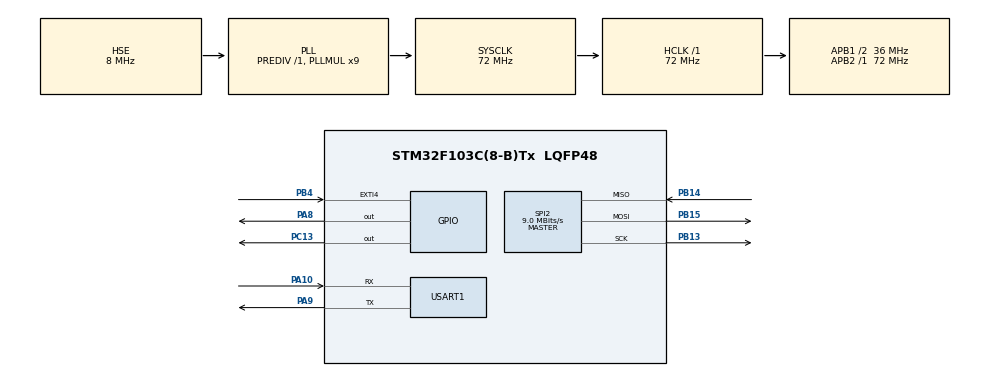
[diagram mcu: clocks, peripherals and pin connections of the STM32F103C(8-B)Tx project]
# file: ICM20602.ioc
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Mcu.Family=STM32F1
Mcu.Name=STM32F103C(8-B)Tx
Mcu.Package=LQFP48
NVIC.EXTI4_IRQn=true\:0\:0\:false\:false\:true\:true
NVIC.PriorityGroup=NVIC_PRIORITYGROUP_4
NVIC.USART1_IRQn=true\:0\:0\:false\:false\:true\:true
PA10.Mode=Asynchronous
PA10.Signal=USART1_RX
PA13.Mode=Serial_Wire
PA13.Signal=SYS_JTMS-SWDIO
PA14.Mode=Serial_Wire
PA14.Signal=SYS_JTCK-SWCLK
PA8.Signal=GPIO_Output
PA9.Mode=Asynchronous
PA9.Signal=USART1_TX
PB13.Mode=Full_Duplex_Master
PB13.Signal=SPI2_SCK
PB14.Mode=Full_Duplex_Master
PB14.Signal=SPI2_MISO
PB15.Mode=Full_Duplex_Master
PB15.Signal=SPI2_MOSI
PB4.Signal=GPXTI4
PC13-TAMPER-RTC.Signal=GPIO_Output
PC14-OSC32_IN.Mode=LSE-External-Oscillator
PC14-OSC32_IN.Signal=RCC_OSC32_IN
PC15-OSC32_OUT.Mode=LSE-External-Oscillator
PC15-OSC32_OUT.Signal=RCC_OSC32_OUT
PD0-OSC_IN.Mode=HSE-External-Oscillator
PD0-OSC_IN.Signal=RCC_OSC_IN
PD1-OSC_OUT.Mode=HSE-External-Oscillator
PD1-OSC_OUT.Signal=RCC_OSC_OUT
ProjectManager.HeapSize=0x200
ProjectManager.StackSize=0x400
ProjectManager.TargetToolchain=MDK-ARM V5
RCC.AHBFreq_Value=72000000
RCC.APB1CLKDivider=RCC_HCLK_DIV2
RCC.APB1Freq_Value=36000000
RCC.APB1TimFreq_Value=72000000
RCC.APB2Freq_Value=72000000
RCC.APB2TimFreq_Value=72000000
RCC.HCLKFreq_Value=72000000
RCC.PLLMUL=RCC_PLL_MUL9
RCC.PLLSourceVirtual=RCC_PLLSOURCE_HSE
RCC.SYSCLKFreq_VALUE=72000000
RCC.SYSCLKSource=RCC_SYSCLKSOURCE_PLLCLK
RCC.USBFreq_Value=72000000
SPI2.BaudRatePrescaler=SPI_BAUDRATEPRESCALER_4
SPI2.CalculateBaudRate=9.0 MBits/s
SPI2.Direction=SPI_DIRECTION_2LINES
SPI2.Mode=SPI_MODE_MASTER
SPI2.VirtualType=VM_MASTER
USART1.VirtualMode=VM_ASYNC
board=custom

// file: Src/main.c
/**
  ******************************************************************************
  * @file           : main.c
  * @brief          : Main program body
  ******************************************************************************
  ** This notice applies to any and all portions of this file
  * that are not between comment pairs USER CODE BEGIN and
  * USER CODE END. Other portions of this file, whether
  * inserted by the user or by software development tools
  * are owned by their respective copyright owners.
  *
  * COPYRIGHT(c) 2019 STMicroelectronics
  *
  * Redistribution and use in source and binary forms, with or without modification,
  * are permitted provided that the following conditions are met:
  *   1. Redistributions of source code must retain the above copyright notice,
  *      this list of conditions and the following disclaimer.
  *   2. Redistributions in binary form must reproduce the above copyright notice,
  *      this list of conditions and the following disclaimer in the documentation
  *      and/or other materials provided with the distribution.
  *   3. Neither the name of STMicroelectronics nor the names of its contributors
  *      may be used to endorse or promote products derived from this software
  *      without specific prior written permission.
  *
  * THIS SOFTWARE IS PROVIDED BY THE COPYRIGHT HOLDERS AND CONTRIBUTORS "AS IS"
  * AND ANY EXPRESS OR IMPLIED WARRANTIES, INCLUDING, BUT NOT LIMITED TO, THE
  * IMPLIED WARRANTIES OF MERCHANTABILITY AND FITNESS FOR A PARTICULAR PURPOSE ARE
  * DISCLAIMED. IN NO EVENT SHALL THE COPYRIGHT HOLDER OR CONTRIBUTORS BE LIABLE
  * FOR ANY DIRECT, INDIRECT, INCIDENTAL, SPECIAL, EXEMPLARY, OR CONSEQUENTIAL
  * DAMAGES (INCLUDING, BUT NOT LIMITED TO, PROCUREMENT OF SUBSTITUTE GOODS OR
  * SERVICES; LOSS OF USE, DATA, OR PROFITS; OR BUSINESS INTERRUPTION) HOWEVER
  * CAUSED AND ON ANY THEORY OF LIABILITY, WHETHER IN CONTRACT, STRICT LIABILITY,
  * OR TORT (INCLUDING NEGLIGENCE OR OTHERWISE) ARISING IN ANY WAY OUT OF THE USE
  * OF THIS SOFTWARE, EVEN IF ADVISED OF THE POSSIBILITY OF SUCH DAMAGE.
  *
  ******************************************************************************
  */
#include "main.h"
#include "stm32f1xx_hal.h"

/* USER CODE BEGIN Includes */

#include "Scheduler.h"
#include "sys.h"
#include "icm20602.h"
#include "Sensor_Basic.h"
#include "Drv_Spi.h"

/* USER CODE END Includes */

SPI_HandleTypeDef hspi2;

UART_HandleTypeDef huart1;

/* USER CODE BEGIN PV */
/* Private variables ---------------------------------------------------------*/

/* USER CODE END PV */

void SystemClock_Config(void);
static void MX_GPIO_Init(void);
static void MX_SPI2_Init(void);
static void MX_USART1_UART_Init(void);

/* USER CODE BEGIN PFP */
/* Private function prototypes -----------------------------------------------*/

/* USER CODE END PFP */

/* USER CODE BEGIN 0 */

#ifdef __GNUC__
	#define PUTCHAR_PROTOTYPE int __io_putchar(int ch)
#else
	#define PUTCHAR_PROTOTYPE int fputc(int ch, FILE *f)
#endif /* __GNUC__ */

	PUTCHAR_PROTOTYPE
	{
		HAL_UART_Transmit(&huart1, (uint8_t *)&ch, 1, 0xFFFF);
		return ch;
	}

/* USER CODE END 0 */

int main(void)
{

  /* MCU Configuration----------------------------------------------------------*/

  /* Reset of all peripherals, Initializes the Flash interface and the Systick. */
  HAL_Init();

  /* Configure the system clock */
  SystemClock_Config();

  /* Initialize all configured peripherals */
  MX_GPIO_Init();
  MX_SPI2_Init();
  MX_USART1_UART_Init();
  /* USER CODE BEGIN 2 */

	while(Drv_Icm20602Init() == 0)
	{
//		printf("icm20602 init fail!\r\n");
	}
	Sensor_Basic_Init();
  /* USER CODE END 2 */

  /* Infinite loop */
  /* USER CODE BEGIN WHILE */
  while (1)
  {
		Main_Task();
  /* USER CODE END WHILE */

  }

}

void SystemClock_Config(void)
{

  RCC_OscInitTypeDef RCC_OscInitStruct;
  RCC_ClkInitTypeDef RCC_ClkInitStruct;

    /**Initializes the CPU, AHB and APB busses clocks
    */
  RCC_OscInitStruct.OscillatorType = RCC_OSCILLATORTYPE_HSE;
  RCC_OscInitStruct.HSEState = RCC_HSE_ON;
  RCC_OscInitStruct.HSEPredivValue = RCC_HSE_PREDIV_DIV1;
  RCC_OscInitStruct.HSIState = RCC_HSI_ON;
  RCC_OscInitStruct.PLL.PLLState = RCC_PLL_ON;
  RCC_OscInitStruct.PLL.PLLSource = RCC_PLLSOURCE_HSE;
  RCC_OscInitStruct.PLL.PLLMUL = RCC_PLL_MUL9;
  if (HAL_RCC_OscConfig(&RCC_OscInitStruct) != HAL_OK)
  {
    _Error_Handler(__FILE__, __LINE__);
  }

    /**Initializes the CPU, AHB and APB busses clocks
    */
  RCC_ClkInitStruct.ClockType = RCC_CLOCKTYPE_HCLK|RCC_CLOCKTYPE_SYSCLK
                              |RCC_CLOCKTYPE_PCLK1|RCC_CLOCKTYPE_PCLK2;
  RCC_ClkInitStruct.SYSCLKSource = RCC_SYSCLKSOURCE_PLLCLK;
  RCC_ClkInitStruct.AHBCLKDivider = RCC_SYSCLK_DIV1;
  RCC_ClkInitStruct.APB1CLKDivider = RCC_HCLK_DIV2;
  RCC_ClkInitStruct.APB2CLKDivider = RCC_HCLK_DIV1;

  if (HAL_RCC_ClockConfig(&RCC_ClkInitStruct, FLASH_LATENCY_2) != HAL_OK)
  {
    _Error_Handler(__FILE__, __LINE__);
  }

    /**Configure the Systick interrupt time
    */
  HAL_SYSTICK_Config(HAL_RCC_GetHCLKFreq()/1000);

    /**Configure the Systick
    */
  HAL_SYSTICK_CLKSourceConfig(SYSTICK_CLKSOURCE_HCLK);

  /* SysTick_IRQn interrupt configuration */
  HAL_NVIC_SetPriority(SysTick_IRQn, 0, 0);
}

/* SPI2 init function */
static void MX_SPI2_Init(void)
{

  /* SPI2 parameter configuration*/
  hspi2.Instance = SPI2;
  hspi2.Init.Mode = SPI_MODE_MASTER;
  hspi2.Init.Direction = SPI_DIRECTION_2LINES;
  hspi2.Init.DataSize = SPI_DATASIZE_8BIT;
  hspi2.Init.CLKPolarity = SPI_POLARITY_LOW;
  hspi2.Init.CLKPhase = SPI_PHASE_1EDGE;
  hspi2.Init.NSS = SPI_NSS_SOFT;
  hspi2.Init.BaudRatePrescaler = SPI_BAUDRATEPRESCALER_4;
  hspi2.Init.FirstBit = SPI_FIRSTBIT_MSB;
  hspi2.Init.TIMode = SPI_TIMODE_DISABLE;
  hspi2.Init.CRCCalculation = SPI_CRCCALCULATION_DISABLE;
  hspi2.Init.CRCPolynomial = 10;
  if (HAL_SPI_Init(&hspi2) != HAL_OK)
  {
    _Error_Handler(__FILE__, __LINE__);
  }

}

/* USART1 init function */
static void MX_USART1_UART_Init(void)
{

  huart1.Instance = USART1;
  huart1.Init.BaudRate = 115200;
  huart1.Init.WordLength = UART_WORDLENGTH_8B;
  huart1.Init.StopBits = UART_STOPBITS_1;
  huart1.Init.Parity = UART_PARITY_NONE;
  huart1.Init.Mode = UART_MODE_TX_RX;
  huart1.Init.HwFlowCtl = UART_HWCONTROL_NONE;
  huart1.Init.OverSampling = UART_OVERSAMPLING_16;
  if (HAL_UART_Init(&huart1) != HAL_OK)
  {
    _Error_Handler(__FILE__, __LINE__);
  }

}

/** Configure pins as
        * Analog
        * Input
        * Output
        * EVENT_OUT
        * EXTI
*/
static void MX_GPIO_Init(void)
{

  GPIO_InitTypeDef GPIO_InitStruct;

  /* GPIO Ports Clock Enable */
  __HAL_RCC_GPIOC_CLK_ENABLE();
  __HAL_RCC_GPIOD_CLK_ENABLE();
  __HAL_RCC_GPIOB_CLK_ENABLE();
  __HAL_RCC_GPIOA_CLK_ENABLE();

  /*Configure GPIO pin Output Level */
  HAL_GPIO_WritePin(GPIOC, GPIO_PIN_13, GPIO_PIN_RESET);

  /*Configure GPIO pin Output Level */
  HAL_GPIO_WritePin(GPIOA, GPIO_PIN_8, GPIO_PIN_RESET);

  /*Configure GPIO pin : PC13 */
  GPIO_InitStruct.Pin = GPIO_PIN_13;
  GPIO_InitStruct.Mode = GPIO_MODE_OUTPUT_PP;
  GPIO_InitStruct.Pull = GPIO_NOPULL;
  GPIO_InitStruct.Speed = GPIO_SPEED_FREQ_LOW;
  HAL_GPIO_Init(GPIOC, &GPIO_InitStruct);

  /*Configure GPIO pin : PA8 */
  GPIO_InitStruct.Pin = GPIO_PIN_8;
  GPIO_InitStruct.Mode = GPIO_MODE_OUTPUT_PP;
  GPIO_InitStruct.Pull = GPIO_NOPULL;
  GPIO_InitStruct.Speed = GPIO_SPEED_FREQ_LOW;
  HAL_GPIO_Init(GPIOA, &GPIO_InitStruct);

  /*Configure GPIO pin : PB4 */
  GPIO_InitStruct.Pin = GPIO_PIN_4;
  GPIO_InitStruct.Mode = GPIO_MODE_IT_RISING;
  GPIO_InitStruct.Pull = GPIO_NOPULL;
  HAL_GPIO_Init(GPIOB, &GPIO_InitStruct);

  /* EXTI interrupt init*/
  HAL_NVIC_SetPriority(EXTI4_IRQn, 0, 0);
  HAL_NVIC_EnableIRQ(EXTI4_IRQn);

}

void _Error_Handler(char *file, int line)
{
  while(1)
  {
  }
}

/************************ (C) COPYRIGHT STMicroelectronics *****END OF FILE****/
